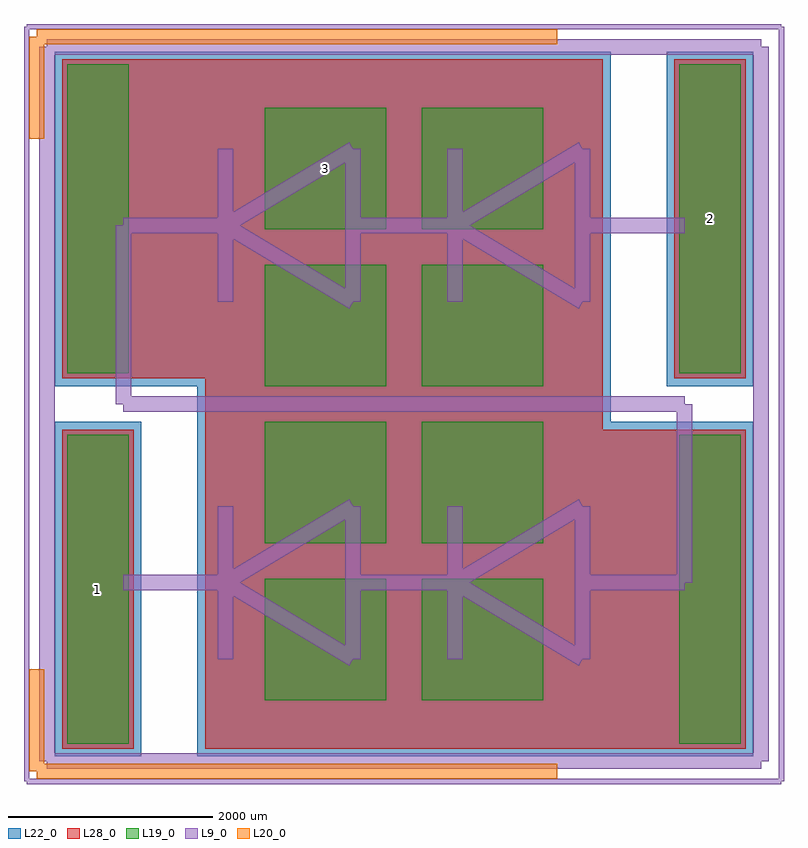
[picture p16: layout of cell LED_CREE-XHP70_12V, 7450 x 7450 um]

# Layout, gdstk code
import gdstk
lib = gdstk.Library(unit=1e-6, precision=1e-09)
def R(c, l, rs):  # rectangles x0, y0, x1, y1
    for r in rs: c.add(gdstk.rectangle(r[:2], r[2:], *l))
def A(c, l, x, y, w, h, nx, ny, dx, dy):  # array of equal rectangles
    R(c, l, [(x+i*dx, y+j*dy, x+i*dx+w, y+j*dy+h) for i in range(nx) for j in range(ny)])
L9_0 = (9, 0)
L19_0 = (19, 0)
L20_0 = (20, 0)
L22_0 = (22, 0)
L28_0 = (28, 0)

led_cree_xhp70_12v = lib.new_cell('LED_CREE-XHP70_12V')
A(led_cree_xhp70_12v, L19_0, -1365, -2905, 1190, 1190, 1, 4, 0, 1540)
A(led_cree_xhp70_12v, L19_0, 175, -2905, 1190, 1190, 1, 4, 0, 1540)
R(led_cree_xhp70_12v, L19_0, [(-3300,-3330,-2700,-300), (2700,-3330,3300,-300), (-3300,300,-2700,3330), (2700,300,3300,3330)])
A(led_cree_xhp70_12v, L22_0, -1490, -3030, 1440, 1440, 1, 4, 0, 1540)
A(led_cree_xhp70_12v, L22_0, 50, -3030, 1440, 1440, 1, 4, 0, 1540)
R(led_cree_xhp70_12v, L22_0, [(-3425,-3455,-2575,-175), (-2025,-3455,2025,3455), (1675,-3455,2825,-175), (2575,-3455,3425,-175), (-3425,175,-2575,3455), (-2825,175,-1675,3455), (2575,175,3425,3455)])
A(led_cree_xhp70_12v, L28_0, -1415, -2955, 1290, 1290, 1, 4, 0, 1540)
A(led_cree_xhp70_12v, L28_0, 125, -2955, 1290, 1290, 1, 4, 0, 1540)
R(led_cree_xhp70_12v, L28_0, [(-3350,-3380,-2650,-250), (-1950,-3380,1950,3380), (1750,-3380,2750,-250), (2650,-3380,3350,-250), (-3350,250,-2650,3380), (-2750,250,-1750,3380), (2650,250,3350,3380)])
led_cree_xhp70_12v.add(gdstk.FlexPath([(-500,-1000),(-1750,-1750)], 149.998, ends="flush", simple_path=True, layer=9, datatype=0))  # L9_0
led_cree_xhp70_12v.add(gdstk.FlexPath([(-500,-2500),(-500,-1000)], 149.998, ends="flush", simple_path=True, layer=9, datatype=0))  # L9_0
led_cree_xhp70_12v.add(gdstk.FlexPath([(-1750,-1750),(-500,-2500)], 149.998, ends="flush", simple_path=True, layer=9, datatype=0))  # L9_0
led_cree_xhp70_12v.add(gdstk.FlexPath([(-1750,-1750),(-1750,-2500)], 149.998, ends="flush", simple_path=True, layer=9, datatype=0))  # L9_0
led_cree_xhp70_12v.add(gdstk.FlexPath([(-1750,-1750),(-1750,-1000)], 149.998, ends="flush", simple_path=True, layer=9, datatype=0))  # L9_0
led_cree_xhp70_12v.add(gdstk.FlexPath([(-2750,-1750),(-1750,-1750)], 149.998, ends="flush", simple_path=True, layer=9, datatype=0))  # L9_0
led_cree_xhp70_12v.add(gdstk.FlexPath([(500,-1000),(500,-2500)], 149.998, ends="flush", simple_path=True, layer=9, datatype=0))  # L9_0
led_cree_xhp70_12v.add(gdstk.FlexPath([(500,-1750),(1750,-1000)], 149.998, ends="flush", simple_path=True, layer=9, datatype=0))  # L9_0
led_cree_xhp70_12v.add(gdstk.FlexPath([(1750,-2500),(500,-1750)], 149.998, ends="flush", simple_path=True, layer=9, datatype=0))  # L9_0
led_cree_xhp70_12v.add(gdstk.FlexPath([(1750,-1750),(1750,-2500)], 149.998, ends="flush", simple_path=True, layer=9, datatype=0))  # L9_0
led_cree_xhp70_12v.add(gdstk.FlexPath([(1750,-1750),(1750,-1000)], 149.998, ends="flush", simple_path=True, layer=9, datatype=0))  # L9_0
led_cree_xhp70_12v.add(gdstk.FlexPath([(2750,-1750),(1750,-1750)], 149.998, ends="flush", simple_path=True, layer=9, datatype=0))  # L9_0
led_cree_xhp70_12v.add(gdstk.FlexPath([(-500,-1750),(500,-1750)], 149.998, ends="flush", simple_path=True, layer=9, datatype=0))  # L9_0
led_cree_xhp70_12v.add(gdstk.FlexPath([(3500,3500),(-3500,3500)], 149.998, ends="flush", simple_path=True, layer=9, datatype=0))  # L9_0
led_cree_xhp70_12v.add(gdstk.FlexPath([(-3500,3500),(-3500,-3500)], 149.998, ends="flush", simple_path=True, layer=9, datatype=0))  # L9_0
led_cree_xhp70_12v.add(gdstk.FlexPath([(-3500,-3500),(3500,-3500)], 149.998, ends="flush", simple_path=True, layer=9, datatype=0))  # L9_0
led_cree_xhp70_12v.add(gdstk.FlexPath([(3500,-3500),(3500,3500)], 149.998, ends="flush", simple_path=True, layer=9, datatype=0))  # L9_0
led_cree_xhp70_12v.add(gdstk.FlexPath([(3700,3700),(-3700,3700)], 50, ends="flush", simple_path=True, layer=9, datatype=0))  # L9_0
led_cree_xhp70_12v.add(gdstk.FlexPath([(-3700,3700),(-3700,-3700)], 50, ends="flush", simple_path=True, layer=9, datatype=0))  # L9_0
led_cree_xhp70_12v.add(gdstk.FlexPath([(-3700,-3700),(3700,-3700)], 50, ends="flush", simple_path=True, layer=9, datatype=0))  # L9_0
led_cree_xhp70_12v.add(gdstk.FlexPath([(3700,-3700),(3700,3700)], 50, ends="flush", simple_path=True, layer=9, datatype=0))  # L9_0
led_cree_xhp70_12v.add(gdstk.FlexPath([(1500,-3600),(-3600,-3600)], 149.998, ends="flush", simple_path=True, layer=20, datatype=0))  # L20_0
led_cree_xhp70_12v.add(gdstk.FlexPath([(-3600,-3600),(-3600,-2600)], 149.998, ends="flush", simple_path=True, layer=20, datatype=0))  # L20_0
led_cree_xhp70_12v.add(gdstk.FlexPath([(1500,3600),(-3600,3600)], 149.998, ends="flush", simple_path=True, layer=20, datatype=0))  # L20_0
led_cree_xhp70_12v.add(gdstk.FlexPath([(-3600,3600),(-3600,2600)], 149.998, ends="flush", simple_path=True, layer=20, datatype=0))  # L20_0
led_cree_xhp70_12v.add(gdstk.FlexPath([(2750,1750),(1750,1750)], 149.998, ends="flush", simple_path=True, layer=9, datatype=0))  # L9_0
led_cree_xhp70_12v.add(gdstk.FlexPath([(1750,1750),(1750,2500)], 149.998, ends="flush", simple_path=True, layer=9, datatype=0))  # L9_0
led_cree_xhp70_12v.add(gdstk.FlexPath([(1750,1750),(1750,1000)], 149.998, ends="flush", simple_path=True, layer=9, datatype=0))  # L9_0
led_cree_xhp70_12v.add(gdstk.FlexPath([(1750,1000),(500,1750)], 149.998, ends="flush", simple_path=True, layer=9, datatype=0))  # L9_0
led_cree_xhp70_12v.add(gdstk.FlexPath([(500,1750),(1750,2500)], 149.998, ends="flush", simple_path=True, layer=9, datatype=0))  # L9_0
led_cree_xhp70_12v.add(gdstk.FlexPath([(500,2500),(500,1000)], 149.998, ends="flush", simple_path=True, layer=9, datatype=0))  # L9_0
led_cree_xhp70_12v.add(gdstk.FlexPath([(-2750,1750),(-1750,1750)], 149.998, ends="flush", simple_path=True, layer=9, datatype=0))  # L9_0
led_cree_xhp70_12v.add(gdstk.FlexPath([(-1750,1750),(-1750,2500)], 149.998, ends="flush", simple_path=True, layer=9, datatype=0))  # L9_0
led_cree_xhp70_12v.add(gdstk.FlexPath([(-1750,1750),(-1750,1000)], 149.998, ends="flush", simple_path=True, layer=9, datatype=0))  # L9_0
led_cree_xhp70_12v.add(gdstk.FlexPath([(-1750,1750),(-500,1000)], 149.998, ends="flush", simple_path=True, layer=9, datatype=0))  # L9_0
led_cree_xhp70_12v.add(gdstk.FlexPath([(-500,1000),(-500,2500)], 149.998, ends="flush", simple_path=True, layer=9, datatype=0))  # L9_0
led_cree_xhp70_12v.add(gdstk.FlexPath([(-500,2500),(-1750,1750)], 149.998, ends="flush", simple_path=True, layer=9, datatype=0))  # L9_0
led_cree_xhp70_12v.add(gdstk.FlexPath([(-500,1750),(500,1750)], 149.998, ends="flush", simple_path=True, layer=9, datatype=0))  # L9_0
led_cree_xhp70_12v.add(gdstk.FlexPath([(-2750,1750),(-2750,0)], 149.998, ends="flush", simple_path=True, layer=9, datatype=0))  # L9_0
led_cree_xhp70_12v.add(gdstk.FlexPath([(-2750,0),(2750,0)], 149.998, ends="flush", simple_path=True, layer=9, datatype=0))  # L9_0
led_cree_xhp70_12v.add(gdstk.FlexPath([(2750,0),(2750,-1750)], 149.998, ends="flush", simple_path=True, layer=9, datatype=0))  # L9_0
led_cree_xhp70_12v.add(gdstk.Label('1', (-3000,-1815), layer=28, texttype=0))
led_cree_xhp70_12v.add(gdstk.Label('2', (3000,1815), layer=28, texttype=0))
led_cree_xhp70_12v.add(gdstk.Label('3', (-770,2310), layer=28, texttype=0))
led_cree_xhp70_12v.add(gdstk.Label('type', (0,4400), layer=9, texttype=0))
led_cree_xhp70_12v.add(gdstk.Label('devicename', (0,-4400), layer=9, texttype=0))

lib.write_gds('LED_CREE-XHP70_12V.gds')
